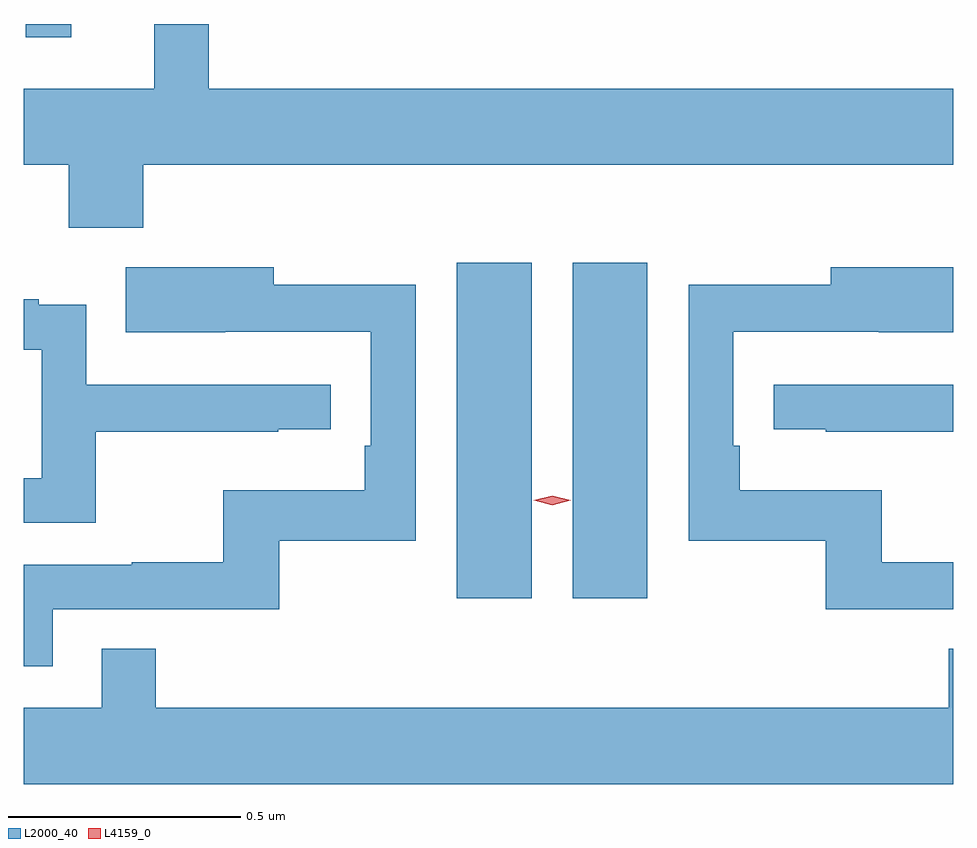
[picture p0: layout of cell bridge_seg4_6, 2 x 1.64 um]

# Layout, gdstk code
import gdstk
lib = gdstk.Library(unit=1e-6, precision=1e-09)
def R(c, l, rs):  # rectangles x0, y0, x1, y1
    for r in rs: c.add(gdstk.rectangle(r[:2], r[2:], *l))
def P(c, l, *ps):  # polygons
    for p in ps: c.add(gdstk.Polygon(p, *l))
L2000_40 = (2000, 40)
L4159_0 = (4159, 0)

bridge_seg4_6 = lib.new_cell('bridge_seg4_6')
R(bridge_seg4_6, L2000_40, [(1131.251,778.572,1131.412,779.293), (1131.5,778.572,1131.661,779.293), (1130.324,779.778,1130.421,779.807)])
P(bridge_seg4_6, L2000_40, [(1130.576,779.504),(1132.319,779.504),(1132.319,779.668),(1130.717,779.668),(1130.717,779.807),(1130.6,779.807),(1130.6,779.668),(1130.319,779.668),(1130.319,779.504),(1130.416,779.504),(1130.416,779.369),(1130.576,779.369)],
  [(1132.319,778.649),(1132.165,778.649),(1132.165,778.804),(1131.86,778.804),(1131.86,778.9),(1131.846,778.9),(1131.846,779.145),(1132.159,779.145),(1132.159,779.144),(1132.319,779.144),(1132.319,779.284),(1132.055,779.284),(1132.055,779.246),(1131.75,779.246),(1131.75,778.695),(1132.044,778.695),(1132.044,778.548),(1132.319,778.548)],
  [(1130.382,778.548),(1130.869,778.548),(1130.869,778.695),(1131.162,778.695),(1131.162,779.246),(1130.857,779.246),(1130.857,779.284),(1130.539,779.284),(1130.539,779.144),(1130.753,779.144),(1130.753,779.145),(1131.066,779.145),(1131.066,778.9),(1131.053,778.9),(1131.053,778.804),(1130.748,778.804),(1130.748,778.649),(1130.551,778.649),(1130.551,778.644),(1130.319,778.644),(1130.319,778.425),(1130.382,778.425)],
  [(1130.474,778.93),(1130.867,778.93),(1130.867,778.935),(1130.98,778.935),(1130.98,779.031),(1130.454,779.031),(1130.454,779.203),(1130.351,779.203),(1130.351,779.215),(1130.319,779.215),(1130.319,779.106),(1130.358,779.106),(1130.358,778.83),(1130.319,778.83),(1130.319,778.734),(1130.474,778.734)],
  [(1132.319,779.031),(1131.933,779.031),(1131.933,778.935),(1132.045,778.935),(1132.045,778.93),(1132.319,778.93)],
  [(1132.319,778.463),(1132.309,778.463),(1132.309,778.336),(1130.603,778.336),(1130.603,778.463),(1130.487,778.463),(1130.487,778.336),(1130.319,778.336),(1130.319,778.172),(1132.319,778.172)])
P(bridge_seg4_6, L4159_0, [(1131.456,778.772),(1131.416,778.782),(1131.416,778.782),(1131.416,778.782),(1131.456,778.792),(1131.496,778.782),(1131.496,778.782),(1131.496,778.782)])

lib.write_gds('bridge_seg4_6.gds')
